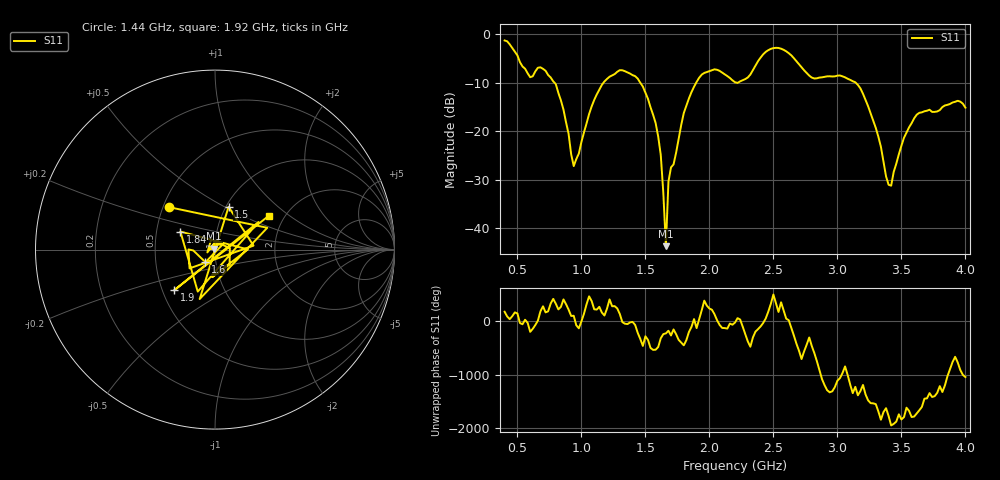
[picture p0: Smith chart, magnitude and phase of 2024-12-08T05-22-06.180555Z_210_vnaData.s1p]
!Created with skrf (http://scikit-rf.org).
# Hz S RI R 50.0
!freq ReS11 ImS11
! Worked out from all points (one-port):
!   181 points, 400 MHz to 4 GHz, reference 50 ohm
!   lowest |S11| = -43.7 dB at 1.66 GHz (marker M1), VSWR 1.01, Z = 49.6 + j0.522 ohm
!   |S11| at or under -10 dB: 789.5 MHz to 1.173 GHz (383.3 MHz wide, 39.1 % of centre); 1.46 GHz to 1.897 GHz (437.4 MHz wide, 26.1 % of centre); 3.143 GHz to end of sweep (the widest 3 of 4)
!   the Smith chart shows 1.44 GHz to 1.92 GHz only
!   S11 on the Smith chart (normalised r, x): 1.44 GHz: 0.54, +0.29; 1.5 GHz: 1.03, +0.52; 1.6 GHz: 0.89, -0.13; 1.84 GHz: 0.67, +0.14; 1.9 GHz: 0.57, -0.29; 1.92 GHz: 1.67, +0.72
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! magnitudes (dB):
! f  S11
! 400 MHz  -1.3
! 600 MHz  -8.9
! 720 MHz  -7.6
! 860 MHz  -15.6
! 940 MHz  -27.2
! 1.12 GHz  -12.4
! 1.3 GHz  -7.4
! 1.44 GHz  -9.2
! 1.5 GHz  -12.0
! 1.6 GHz  -21.1
! 1.62 GHz  -24.9
! 1.66 GHz  -43.7
! 1.68 GHz  -30.4
! 1.76 GHz  -21.6
! 1.84 GHz  -13.3
! 1.9 GHz  -9.9
! 1.92 GHz  -9.0
! 2.04 GHz  -7.3
! 2.2 GHz  -9.9
! 2.48 GHz  -3.0
! 2.66 GHz  -5.0
! 2.8 GHz  -9.0
! 3.1 GHz  -9.4
! 3.24 GHz  -14.9
! 3.4 GHz  -31.0
! 3.56 GHz  -19.2
! 3.64 GHz  -16.2
! 4 GHz  -15.1
